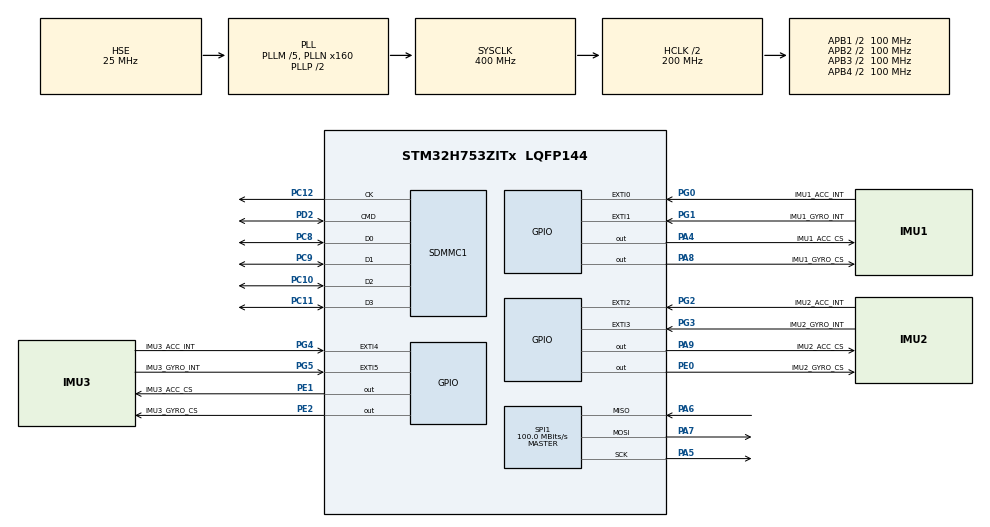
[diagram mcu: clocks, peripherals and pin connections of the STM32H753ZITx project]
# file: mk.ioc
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CORTEX_M7.default_mode_Activation=1
Dma.Request0=SPI1_RX
Dma.Request1=SPI1_TX
Dma.SPI1_RX.0.Direction=DMA_PERIPH_TO_MEMORY
Dma.SPI1_RX.0.EventEnable=DISABLE
Dma.SPI1_RX.0.FIFOMode=DMA_FIFOMODE_DISABLE
Dma.SPI1_RX.0.Instance=DMA1_Stream0
Dma.SPI1_RX.0.MemDataAlignment=DMA_MDATAALIGN_BYTE
Dma.SPI1_RX.0.MemInc=DMA_MINC_ENABLE
Dma.SPI1_RX.0.Mode=DMA_NORMAL
Dma.SPI1_RX.0.PeriphDataAlignment=DMA_PDATAALIGN_BYTE
Dma.SPI1_RX.0.PeriphInc=DMA_PINC_DISABLE
Dma.SPI1_RX.0.Polarity=HAL_DMAMUX_REQ_GEN_RISING
Dma.SPI1_RX.0.Priority=DMA_PRIORITY_HIGH
Dma.SPI1_RX.0.RequestNumber=1
Dma.SPI1_RX.0.SignalID=NONE
Dma.SPI1_RX.0.SyncEnable=DISABLE
Dma.SPI1_RX.0.SyncPolarity=HAL_DMAMUX_SYNC_NO_EVENT
Dma.SPI1_RX.0.SyncRequestNumber=1
Dma.SPI1_RX.0.SyncSignalID=NONE
Dma.SPI1_TX.1.Direction=DMA_MEMORY_TO_PERIPH
Dma.SPI1_TX.1.EventEnable=DISABLE
Dma.SPI1_TX.1.FIFOMode=DMA_FIFOMODE_DISABLE
Dma.SPI1_TX.1.Instance=DMA1_Stream1
Dma.SPI1_TX.1.MemDataAlignment=DMA_MDATAALIGN_BYTE
Dma.SPI1_TX.1.MemInc=DMA_MINC_ENABLE
Dma.SPI1_TX.1.Mode=DMA_NORMAL
Dma.SPI1_TX.1.PeriphDataAlignment=DMA_PDATAALIGN_BYTE
Dma.SPI1_TX.1.PeriphInc=DMA_PINC_DISABLE
Dma.SPI1_TX.1.Polarity=HAL_DMAMUX_REQ_GEN_RISING
Dma.SPI1_TX.1.Priority=DMA_PRIORITY_HIGH
Dma.SPI1_TX.1.RequestNumber=1
Dma.SPI1_TX.1.SignalID=NONE
Dma.SPI1_TX.1.SyncEnable=DISABLE
Dma.SPI1_TX.1.SyncPolarity=HAL_DMAMUX_SYNC_NO_EVENT
Dma.SPI1_TX.1.SyncRequestNumber=1
Dma.SPI1_TX.1.SyncSignalID=NONE
Mcu.Family=STM32H7
Mcu.Name=STM32H753ZITx
Mcu.Package=LQFP144
NVIC.DMA1_Stream0_IRQn=true\:6\:0\:true\:false\:true\:false\:true\:true
NVIC.DMA1_Stream1_IRQn=true\:6\:0\:true\:false\:true\:false\:true\:true
NVIC.EXTI0_IRQn=true\:5\:0\:true\:false\:true\:true\:true\:true
NVIC.EXTI1_IRQn=true\:5\:0\:true\:false\:true\:true\:true\:true
NVIC.EXTI2_IRQn=true\:5\:0\:true\:false\:true\:true\:true\:true
NVIC.EXTI3_IRQn=true\:5\:0\:true\:false\:true\:true\:true\:true
NVIC.EXTI4_IRQn=true\:5\:0\:true\:false\:true\:true\:true\:true
NVIC.EXTI9_5_IRQn=true\:5\:0\:true\:false\:true\:true\:true\:true
NVIC.PriorityGroup=NVIC_PRIORITYGROUP_4
NVIC.SDMMC1_IRQn=true\:7\:0\:true\:false\:true\:true\:true\:true
NVIC.SPI1_IRQn=true\:6\:0\:true\:false\:true\:false\:true\:true
NVIC.TIM6_DAC_IRQn=true\:0\:0\:false\:false\:true\:true\:true\:true
PA4.GPIO_Label=IMU1_ACC_CS
PA4.GPIO_PuPd=GPIO_NOPULL
PA4.PinState=GPIO_PIN_SET
PA4.Signal=GPIO_Output
PA5.Mode=Full_Duplex_Master
PA5.Signal=SPI1_SCK
PA6.Mode=Full_Duplex_Master
PA6.Signal=SPI1_MISO
PA7.Mode=Full_Duplex_Master
PA7.Signal=SPI1_MOSI
PA8.GPIO_Label=IMU1_GYRO_CS
PA8.PinState=GPIO_PIN_SET
PA8.Signal=GPIO_Output
PA9.GPIO_Label=IMU2_ACC_CS
PA9.PinState=GPIO_PIN_SET
PA9.Signal=GPIO_Output
PC10.GPIO_PuPd=GPIO_PULLUP
PC10.Mode=SD_4_bits_Wide_bus
PC10.Signal=SDMMC1_D2
PC11.GPIO_PuPd=GPIO_PULLUP
PC11.Mode=SD_4_bits_Wide_bus
PC11.Signal=SDMMC1_D3
PC12.Mode=SD_4_bits_Wide_bus
PC12.Signal=SDMMC1_CK
PC8.GPIO_PuPd=GPIO_PULLUP
PC8.Mode=SD_4_bits_Wide_bus
PC8.Signal=SDMMC1_D0
PC9.GPIO_PuPd=GPIO_PULLUP
PC9.Mode=SD_4_bits_Wide_bus
PC9.Signal=SDMMC1_D1
PD2.GPIO_PuPd=GPIO_PULLUP
PD2.Mode=SD_4_bits_Wide_bus
PD2.Signal=SDMMC1_CMD
PE0.GPIO_Label=IMU2_GYRO_CS
PE0.PinState=GPIO_PIN_SET
PE0.Signal=GPIO_Output
PE1.GPIO_Label=IMU3_ACC_CS
PE1.PinState=GPIO_PIN_SET
PE1.Signal=GPIO_Output
PE2.GPIO_Label=IMU3_GYRO_CS
PE2.PinState=GPIO_PIN_SET
PE2.Signal=GPIO_Output
PG0.GPIO_Label=IMU1_ACC_INT
PG0.Signal=GPXTI0
PG1.GPIO_Label=IMU1_GYRO_INT
PG1.Signal=GPXTI1
PG2.GPIO_Label=IMU2_ACC_INT
PG2.Signal=GPXTI2
PG3.GPIO_Label=IMU2_GYRO_INT
PG3.Signal=GPXTI3
PG4.GPIO_Label=IMU3_ACC_INT
PG4.Signal=GPXTI4
PG5.GPIO_Label=IMU3_GYRO_INT
PG5.Signal=GPXTI5
PH0-OSC_IN\ (PH0).Mode=HSE-External-Oscillator
PH0-OSC_IN\ (PH0).Signal=RCC_OSC_IN
PH1-OSC_OUT\ (PH1).Mode=HSE-External-Oscillator
PH1-OSC_OUT\ (PH1).Signal=RCC_OSC_OUT
ProjectManager.HeapSize=0x200
ProjectManager.StackSize=0x400
ProjectManager.TargetToolchain=STM32CubeIDE
RCC.ADCFreq_Value=50390625
RCC.APB1Freq_Value=100000000
RCC.APB2Freq_Value=100000000
RCC.APB3Freq_Value=100000000
RCC.APB4Freq_Value=100000000
RCC.CortexFreq_Value=400000000
RCC.D1PPRE=RCC_APB3_DIV2
RCC.D2PPRE1=RCC_APB1_DIV2
RCC.D2PPRE2=RCC_APB2_DIV2
RCC.D3PPRE=RCC_APB4_DIV2
RCC.DIVM1=5
RCC.DIVN1=160
RCC.DIVQ1=4
RCC.HCLKFreq_Value=200000000
RCC.HPRE=RCC_HCLK_DIV2
RCC.PLLFRACN=0
RCC.PLLSourceVirtual=RCC_PLLSOURCE_HSE
RCC.SYSCLKFreq_VALUE=400000000
RCC.SYSCLKSource=RCC_SYSCLKSOURCE_PLLCLK
RCC.USBFreq_Value=200000000
SPI1.BaudRatePrescaler=SPI_BAUDRATEPRESCALER_2
SPI1.CalculateBaudRate=100.0 MBits/s
SPI1.DataSize=SPI_DATASIZE_8BIT
SPI1.Direction=SPI_DIRECTION_2LINES
SPI1.Mode=SPI_MODE_MASTER
SPI1.VirtualType=VM_MASTER
TIM6.Period=99
TIM6.Prescaler=19999
VP_FATFS_VS_SDIO.Mode=SDIO
VP_MEMORYMAP_VS_MEMORYMAP.Mode=CurAppReg
VP_TIM6_VS_ClockSourceINT.Mode=Enable_Timer
board=custom

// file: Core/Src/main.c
/* USER CODE BEGIN Header */
/**
 ******************************************************************************
 * @file           : main.c
 * @brief          : Main program body
 ******************************************************************************
 * @attention
 *
 * Copyright (c) 2026 STMicroelectronics.
 * All rights reserved.
 *
 * This software is licensed under terms that can be found in the LICENSE file
 * in the root directory of this software component.
 * If no LICENSE file comes with this software, it is provided AS-IS.
 *
 ******************************************************************************
 */
/* USER CODE END Header */
#include "main.h"
#include "fatfs.h"

/* USER CODE BEGIN Includes */
#include "bmi088.h"
#include "csv_log.h"
#include "sd_log.h"
/* USER CODE END Includes */

/* USER CODE BEGIN PTD */

BMI088_Handle_t imu1;
BMI088_Handle_t imu2;
BMI088_Handle_t imu3;
BMI088_RawData_t accel_raw[3];
BMI088_RawData_t gyro_raw[3];
BMI088_Data_t accel_data[3];
BMI088_Data_t gyro_data[3];
BMI088_Data_Fusion_t fused_data;
/* USER CODE END PTD */

SD_HandleTypeDef hsd1;

SPI_HandleTypeDef hspi1;
DMA_HandleTypeDef hdma_spi1_rx;
DMA_HandleTypeDef hdma_spi1_tx;

TIM_HandleTypeDef htim6;

volatile uint32_t sample_ticks = 0;

/* USER CODE BEGIN PV */
__attribute__((section(".RAM_D2"), aligned(32)))

volatile IMU_DMA_State_t imu_dma_state = IMU_DMA_IDLE;

volatile uint8_t sample_ready = 0;
/* USER CODE END PV */

void SystemClock_Config(void);
static void MPU_Config(void);
static void MX_GPIO_Init(void);
static void MX_DMA_Init(void);
static void MX_SDMMC1_SD_Init(void);
static void MX_SPI1_Init(void);
static void MX_TIM6_Init(void);

/* USER CODE BEGIN 0 */
void HAL_TIM_PeriodElapsedCallback(TIM_HandleTypeDef *htim)
{
    if (htim->Instance == TIM6)
    {
        sample_ticks++;
    }
}

/* USER CODE END 0 */

int main(void)
{

  /* MPU Configuration--------------------------------------------------------*/
  MPU_Config();

  /* MCU Configuration--------------------------------------------------------*/

  /* Reset of all peripherals, Initializes the Flash interface and the Systick. */
  HAL_Init();

  /* Configure the system clock */
  SystemClock_Config();

  /* Initialize all configured peripherals */
  MX_GPIO_Init();
  MX_DMA_Init();
  MX_SDMMC1_SD_Init();
  MX_SPI1_Init();
  MX_FATFS_Init();
  MX_TIM6_Init();
  /* USER CODE BEGIN 2 */
  imu1.spi = &hspi1;
  imu1.acc_cs_port = IMU1_ACC_CS_GPIO_Port;
  imu1.acc_cs_pin = IMU1_ACC_CS_Pin;
  imu1.gyro_cs_port = IMU1_GYRO_CS_GPIO_Port;
  imu1.gyro_cs_pin = IMU1_GYRO_CS_Pin;
  imu1.accel_range = BMI088_ACC_RANGE_6G;
  imu1.gyro_range = BMI088_GYRO_RANGE_2000DPS;

  imu2.spi = &hspi1;
  imu2.acc_cs_port = IMU2_ACC_CS_GPIO_Port;
  imu2.acc_cs_pin = IMU2_ACC_CS_Pin;
  imu2.gyro_cs_port = IMU2_GYRO_CS_GPIO_Port;
  imu2.gyro_cs_pin = IMU2_GYRO_CS_Pin;
  imu2.accel_range = BMI088_ACC_RANGE_6G;
  imu2.gyro_range = BMI088_GYRO_RANGE_2000DPS;

  imu3.spi = &hspi1;
  imu3.acc_cs_port = IMU3_ACC_CS_GPIO_Port;
  imu3.acc_cs_pin = IMU3_ACC_CS_Pin;
  imu3.gyro_cs_port = IMU3_GYRO_CS_GPIO_Port;
  imu3.gyro_cs_pin = IMU3_GYRO_CS_Pin;
  imu3.accel_range = BMI088_ACC_RANGE_6G;
  imu3.gyro_range = BMI088_GYRO_RANGE_2000DPS;

  if (BMI088_Init(&imu1) != HAL_OK)
  {
    return HAL_ERROR;
  }

  if (BMI088_Init(&imu2) != HAL_OK)
  {
    return HAL_ERROR;
  }

  if (BMI088_Init(&imu3) != HAL_OK)
  {
    return HAL_ERROR;
  }

  SD_Logger_Init();
  RAM_Log_Init();

  if (HAL_TIM_Base_Start_IT(&htim6) != HAL_OK)
  {
      Error_Handler();
  }

  /* USER CODE END 2 */

  /* Infinite loop */
  while (1)
  {

    /* USER CODE BEGIN 3 */
//    BMI088_ReadAccel(&imu1, &accel_raw[0], &accel_data[0]);
//    BMI088_ReadGyro(&imu1, &gyro_raw[0], &gyro_data[0]);
//
//    BMI088_ReadAccel(&imu2, &accel_raw[1], &accel_data[1]);
//    BMI088_ReadGyro(&imu2, &gyro_raw[1], &gyro_data[1]);
//
//    BMI088_ReadAccel(&imu3, &accel_raw[2], &accel_data[2]);
//    BMI088_ReadGyro(&imu3, &gyro_raw[2], &gyro_data[2]);
//
//    fusion(accel_data,gyro_data,&fused_data);
//
//    frame_length = csv_log(csv_buffer,sizeof(csv_buffer),accel_data,gyro_data,&fused_data);
//
//    if (frame_length > 0 && frame_length < sizeof(csv_buffer))
//    {
//        SD_Logger_Write(csv_buffer, (uint16_t)frame_length);
//    }
//
//
//    HAL_Delay(100);
	    if (imu_dma_state == IMU_DMA_IDLE)
	    {
	        if (sample_ticks > 0U)
	        {
	            __disable_irq();

	            if (sample_ticks > 0U)
	            {
	                sample_ticks--;
	                imu_dma_state = IMU1_ACC_START;
	            }

	            __enable_irq();
	        }
	    }

	    IMU_DMA_Task();

  }
  /* USER CODE END 3 */
}

void SystemClock_Config(void)
{
  RCC_OscInitTypeDef RCC_OscInitStruct = {0};
  RCC_ClkInitTypeDef RCC_ClkInitStruct = {0};

  /** Supply configuration update enable
  */
  HAL_PWREx_ConfigSupply(PWR_LDO_SUPPLY);

  /** Configure the main internal regulator output voltage
  */
  __HAL_PWR_VOLTAGESCALING_CONFIG(PWR_REGULATOR_VOLTAGE_SCALE1);

  while(!__HAL_PWR_GET_FLAG(PWR_FLAG_VOSRDY)) {}

  /** Initializes the RCC Oscillators according to the specified parameters
  * in the RCC_OscInitTypeDef structure.
  */
  RCC_OscInitStruct.OscillatorType = RCC_OSCILLATORTYPE_HSE;
  RCC_OscInitStruct.HSEState = RCC_HSE_ON;
  RCC_OscInitStruct.PLL.PLLState = RCC_PLL_ON;
  RCC_OscInitStruct.PLL.PLLSource = RCC_PLLSOURCE_HSE;
  RCC_OscInitStruct.PLL.PLLM = 5;
  RCC_OscInitStruct.PLL.PLLN = 160;
  RCC_OscInitStruct.PLL.PLLP = 2;
  RCC_OscInitStruct.PLL.PLLQ = 4;
  RCC_OscInitStruct.PLL.PLLR = 2;
  RCC_OscInitStruct.PLL.PLLRGE = RCC_PLL1VCIRANGE_2;
  RCC_OscInitStruct.PLL.PLLVCOSEL = RCC_PLL1VCOWIDE;
  RCC_OscInitStruct.PLL.PLLFRACN = 0;
  if (HAL_RCC_OscConfig(&RCC_OscInitStruct) != HAL_OK)
  {
    Error_Handler();
  }

  /** Initializes the CPU, AHB and APB buses clocks
  */
  RCC_ClkInitStruct.ClockType = RCC_CLOCKTYPE_HCLK|RCC_CLOCKTYPE_SYSCLK
                              |RCC_CLOCKTYPE_PCLK1|RCC_CLOCKTYPE_PCLK2
                              |RCC_CLOCKTYPE_D3PCLK1|RCC_CLOCKTYPE_D1PCLK1;
  RCC_ClkInitStruct.SYSCLKSource = RCC_SYSCLKSOURCE_PLLCLK;
  RCC_ClkInitStruct.SYSCLKDivider = RCC_SYSCLK_DIV1;
  RCC_ClkInitStruct.AHBCLKDivider = RCC_HCLK_DIV2;
  RCC_ClkInitStruct.APB3CLKDivider = RCC_APB3_DIV2;
  RCC_ClkInitStruct.APB1CLKDivider = RCC_APB1_DIV2;
  RCC_ClkInitStruct.APB2CLKDivider = RCC_APB2_DIV2;
  RCC_ClkInitStruct.APB4CLKDivider = RCC_APB4_DIV2;

  if (HAL_RCC_ClockConfig(&RCC_ClkInitStruct, FLASH_LATENCY_2) != HAL_OK)
  {
    Error_Handler();
  }
}

static void MX_SDMMC1_SD_Init(void)
{

  hsd1.Instance = SDMMC1;
  hsd1.Init.ClockEdge = SDMMC_CLOCK_EDGE_RISING;
  hsd1.Init.ClockPowerSave = SDMMC_CLOCK_POWER_SAVE_DISABLE;
  hsd1.Init.BusWide = SDMMC_BUS_WIDE_4B;
  hsd1.Init.HardwareFlowControl = SDMMC_HARDWARE_FLOW_CONTROL_DISABLE;
  hsd1.Init.ClockDiv = 0;
  if (HAL_SD_Init(&hsd1) != HAL_OK)
  {
    Error_Handler();
  }

}

static void MX_SPI1_Init(void)
{

  /* SPI1 parameter configuration*/
  hspi1.Instance = SPI1;
  hspi1.Init.Mode = SPI_MODE_MASTER;
  hspi1.Init.Direction = SPI_DIRECTION_2LINES;
  hspi1.Init.DataSize = SPI_DATASIZE_8BIT;
  hspi1.Init.CLKPolarity = SPI_POLARITY_LOW;
  hspi1.Init.CLKPhase = SPI_PHASE_1EDGE;
  hspi1.Init.NSS = SPI_NSS_SOFT;
  hspi1.Init.BaudRatePrescaler = SPI_BAUDRATEPRESCALER_2;
  hspi1.Init.FirstBit = SPI_FIRSTBIT_MSB;
  hspi1.Init.TIMode = SPI_TIMODE_DISABLE;
  hspi1.Init.CRCCalculation = SPI_CRCCALCULATION_DISABLE;
  hspi1.Init.CRCPolynomial = 0x0;
  hspi1.Init.NSSPMode = SPI_NSS_PULSE_ENABLE;
  hspi1.Init.NSSPolarity = SPI_NSS_POLARITY_LOW;
  hspi1.Init.FifoThreshold = SPI_FIFO_THRESHOLD_01DATA;
  hspi1.Init.TxCRCInitializationPattern = SPI_CRC_INITIALIZATION_ALL_ZERO_PATTERN;
  hspi1.Init.RxCRCInitializationPattern = SPI_CRC_INITIALIZATION_ALL_ZERO_PATTERN;
  hspi1.Init.MasterSSIdleness = SPI_MASTER_SS_IDLENESS_00CYCLE;
  hspi1.Init.MasterInterDataIdleness = SPI_MASTER_INTERDATA_IDLENESS_00CYCLE;
  hspi1.Init.MasterReceiverAutoSusp = SPI_MASTER_RX_AUTOSUSP_DISABLE;
  hspi1.Init.MasterKeepIOState = SPI_MASTER_KEEP_IO_STATE_DISABLE;
  hspi1.Init.IOSwap = SPI_IO_SWAP_DISABLE;
  if (HAL_SPI_Init(&hspi1) != HAL_OK)
  {
    Error_Handler();
  }

}

static void MX_TIM6_Init(void)
{

  TIM_MasterConfigTypeDef sMasterConfig = {0};

  htim6.Instance = TIM6;
  htim6.Init.Prescaler = 19999;
  htim6.Init.CounterMode = TIM_COUNTERMODE_UP;
  htim6.Init.Period = 99;
  htim6.Init.AutoReloadPreload = TIM_AUTORELOAD_PRELOAD_DISABLE;
  if (HAL_TIM_Base_Init(&htim6) != HAL_OK)
  {
    Error_Handler();
  }
  sMasterConfig.MasterOutputTrigger = TIM_TRGO_RESET;
  sMasterConfig.MasterSlaveMode = TIM_MASTERSLAVEMODE_DISABLE;
  if (HAL_TIMEx_MasterConfigSynchronization(&htim6, &sMasterConfig) != HAL_OK)
  {
    Error_Handler();
  }

}

static void MX_DMA_Init(void)
{

  /* DMA controller clock enable */
  __HAL_RCC_DMA1_CLK_ENABLE();

  /* DMA interrupt init */
  /* DMA1_Stream0_IRQn interrupt configuration */
  HAL_NVIC_SetPriority(DMA1_Stream0_IRQn, 6, 0);
  HAL_NVIC_EnableIRQ(DMA1_Stream0_IRQn);
  /* DMA1_Stream1_IRQn interrupt configuration */
  HAL_NVIC_SetPriority(DMA1_Stream1_IRQn, 6, 0);
  HAL_NVIC_EnableIRQ(DMA1_Stream1_IRQn);

}

static void MX_GPIO_Init(void)
{
  GPIO_InitTypeDef GPIO_InitStruct = {0};

  /* GPIO Ports Clock Enable */
  __HAL_RCC_GPIOE_CLK_ENABLE();
  __HAL_RCC_GPIOH_CLK_ENABLE();
  __HAL_RCC_GPIOA_CLK_ENABLE();
  __HAL_RCC_GPIOG_CLK_ENABLE();
  __HAL_RCC_GPIOC_CLK_ENABLE();
  __HAL_RCC_GPIOD_CLK_ENABLE();

  /*Configure GPIO pin Output Level */
  HAL_GPIO_WritePin(GPIOE, IMU3_GYRO_CS_Pin|IMU2_GYRO_CS_Pin|IMU3_ACC_CS_Pin, GPIO_PIN_SET);

  /*Configure GPIO pin Output Level */
  HAL_GPIO_WritePin(GPIOA, IMU1_ACC_CS_Pin|IMU1_GYRO_CS_Pin|IMU2_ACC_CS_Pin, GPIO_PIN_SET);

  /*Configure GPIO pins : IMU3_GYRO_CS_Pin IMU2_GYRO_CS_Pin IMU3_ACC_CS_Pin */
  GPIO_InitStruct.Pin = IMU3_GYRO_CS_Pin|IMU2_GYRO_CS_Pin|IMU3_ACC_CS_Pin;
  GPIO_InitStruct.Mode = GPIO_MODE_OUTPUT_PP;
  GPIO_InitStruct.Pull = GPIO_NOPULL;
  GPIO_InitStruct.Speed = GPIO_SPEED_FREQ_LOW;
  HAL_GPIO_Init(GPIOE, &GPIO_InitStruct);

  /*Configure GPIO pins : IMU1_ACC_CS_Pin IMU1_GYRO_CS_Pin IMU2_ACC_CS_Pin */
  GPIO_InitStruct.Pin = IMU1_ACC_CS_Pin|IMU1_GYRO_CS_Pin|IMU2_ACC_CS_Pin;
  GPIO_InitStruct.Mode = GPIO_MODE_OUTPUT_PP;
  GPIO_InitStruct.Pull = GPIO_NOPULL;
  GPIO_InitStruct.Speed = GPIO_SPEED_FREQ_LOW;
  HAL_GPIO_Init(GPIOA, &GPIO_InitStruct);

  /*Configure GPIO pins : IMU1_ACC_INT_Pin IMU1_GYRO_INT_Pin IMU2_ACC_INT_Pin IMU2_GYRO_INT_Pin
                           IMU3_ACC_INT_Pin IMU3_GYRO_INT_Pin */
  GPIO_InitStruct.Pin = IMU1_ACC_INT_Pin|IMU1_GYRO_INT_Pin|IMU2_ACC_INT_Pin|IMU2_GYRO_INT_Pin
                          |IMU3_ACC_INT_Pin|IMU3_GYRO_INT_Pin;
  GPIO_InitStruct.Mode = GPIO_MODE_IT_RISING;
  GPIO_InitStruct.Pull = GPIO_NOPULL;
  HAL_GPIO_Init(GPIOG, &GPIO_InitStruct);

  /* EXTI interrupt init*/
  HAL_NVIC_SetPriority(IMU1_ACC_INT_EXTI_IRQn, 5, 0);
  HAL_NVIC_EnableIRQ(IMU1_ACC_INT_EXTI_IRQn);

  HAL_NVIC_SetPriority(IMU1_GYRO_INT_EXTI_IRQn, 5, 0);
  HAL_NVIC_EnableIRQ(IMU1_GYRO_INT_EXTI_IRQn);

  HAL_NVIC_SetPriority(IMU2_ACC_INT_EXTI_IRQn, 5, 0);
  HAL_NVIC_EnableIRQ(IMU2_ACC_INT_EXTI_IRQn);

  HAL_NVIC_SetPriority(IMU2_GYRO_INT_EXTI_IRQn, 5, 0);
  HAL_NVIC_EnableIRQ(IMU2_GYRO_INT_EXTI_IRQn);

  HAL_NVIC_SetPriority(IMU3_ACC_INT_EXTI_IRQn, 5, 0);
  HAL_NVIC_EnableIRQ(IMU3_ACC_INT_EXTI_IRQn);

  HAL_NVIC_SetPriority(IMU3_GYRO_INT_EXTI_IRQn, 5, 0);
  HAL_NVIC_EnableIRQ(IMU3_GYRO_INT_EXTI_IRQn);

}

 /* MPU Configuration */

void MPU_Config(void)
{
  MPU_Region_InitTypeDef MPU_InitStruct = {0};

  /* Disables the MPU */
  HAL_MPU_Disable();

  /** Initializes and configures the Region and the memory to be protected
  */
  MPU_InitStruct.Enable = MPU_REGION_ENABLE;
  MPU_InitStruct.Number = MPU_REGION_NUMBER0;
  MPU_InitStruct.BaseAddress = 0x0;
  MPU_InitStruct.Size = MPU_REGION_SIZE_4GB;
  MPU_InitStruct.SubRegionDisable = 0x87;
  MPU_InitStruct.TypeExtField = MPU_TEX_LEVEL0;
  MPU_InitStruct.AccessPermission = MPU_REGION_NO_ACCESS;
  MPU_InitStruct.DisableExec = MPU_INSTRUCTION_ACCESS_DISABLE;
  MPU_InitStruct.IsShareable = MPU_ACCESS_SHAREABLE;
  MPU_InitStruct.IsCacheable = MPU_ACCESS_NOT_CACHEABLE;
  MPU_InitStruct.IsBufferable = MPU_ACCESS_NOT_BUFFERABLE;

  HAL_MPU_ConfigRegion(&MPU_InitStruct);
  /* Enables the MPU */
  HAL_MPU_Enable(MPU_PRIVILEGED_DEFAULT);

}

void Error_Handler(void)
{
  __disable_irq();
  while (1)
  {
  }
}
